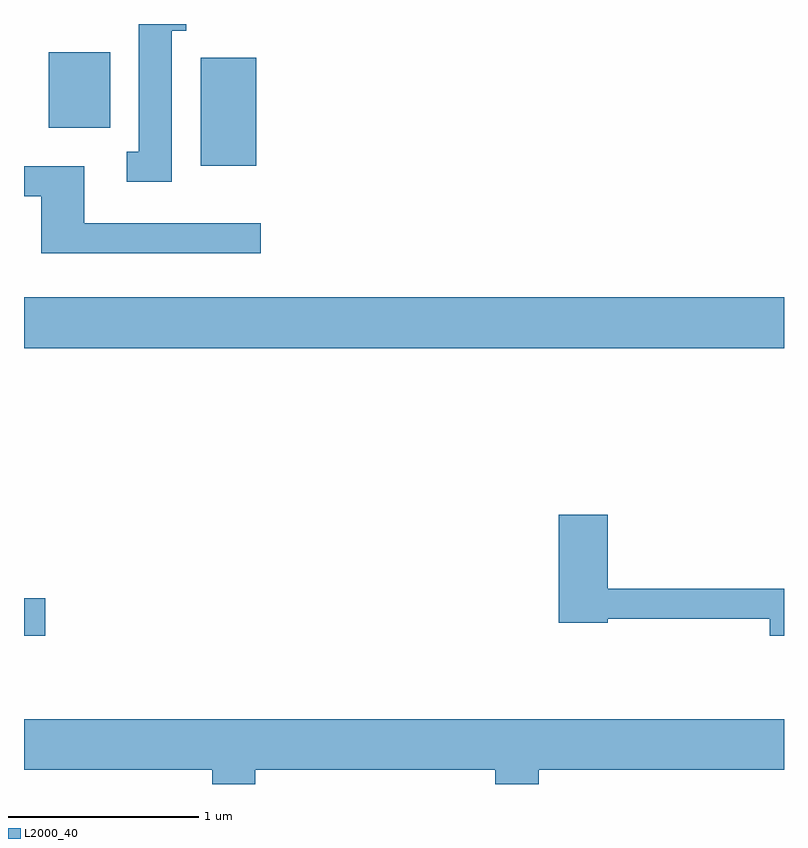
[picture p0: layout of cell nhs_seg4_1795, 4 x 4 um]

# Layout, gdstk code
import gdstk
lib = gdstk.Library(unit=1e-6, precision=1e-09)
def R(c, l, rs):  # rectangles x0, y0, x1, y1
    for r in rs: c.add(gdstk.rectangle(r[:2], r[2:], *l))
def P(c, l, *ps):  # polygons
    for p in ps: c.add(gdstk.Polygon(p, *l))
L2000_40 = (2000, 40)

nhs_seg4_1795 = lib.new_cell('nhs_seg4_1795')
R(nhs_seg4_1795, L2000_40, [(237.611,1308.761,237.724,1308.959), (237.611,1310.276,241.611,1310.544), (238.541,1311.236,238.834,1311.804), (237.741,1311.436,238.064,1311.834)])
P(nhs_seg4_1795, L2000_40, [(238.389,1311.946),(238.464,1311.946),(238.464,1311.982),(238.21,1311.982),(238.21,1311.98),(238.216,1311.98),(238.216,1311.309),(238.153,1311.309),(238.153,1311.151),(238.389,1311.151)],
  [(238.858,1310.934),(237.929,1310.934),(237.929,1311.234),(237.611,1311.234),(237.611,1311.076),(237.701,1311.076),(237.701,1310.776),(238.858,1310.776)],
  [(241.611,1309.009),(240.684,1309.009),(240.684,1309.399),(240.426,1309.399),(240.426,1308.831),(240.684,1308.831),(240.684,1308.851),(241.536,1308.851),(241.536,1308.761),(241.611,1308.761)],
  [(238.829,1308.056),(240.091,1308.056),(240.091,1307.982),(240.319,1307.982),(240.319,1308.056),(241.611,1308.056),(241.611,1308.324),(237.611,1308.324),(237.611,1308.056),(238.601,1308.056),(238.601,1307.982),(238.829,1307.982)])

lib.write_gds('nhs_seg4_1795.gds')
